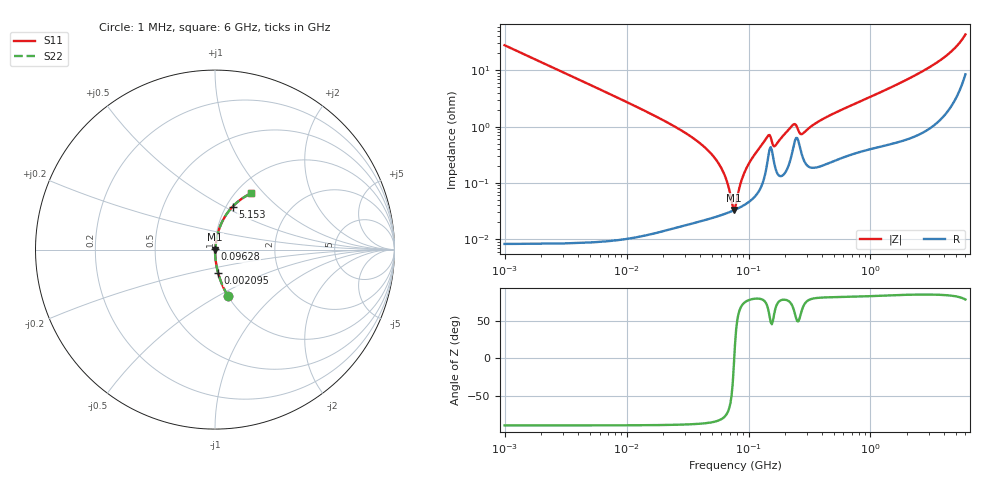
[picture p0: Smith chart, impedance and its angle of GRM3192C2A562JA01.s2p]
!Murata Part Number: GRM3192C2A562JA01
!These Parameters are Measured in Series Mode Connection
!Data Generated on Mar 30, 2021
!  o--ll--o
!Port1  Port2
!  o------o
!Operation Temp=25[degC], DC Bias Voltage=0[V]
!Freq. Start=1000[kHz] Stop=6[GHz] 401[Steps]
# Hz S RI R 50
!Freq.(Hz) S11(Real) S11(Imag) S21(Real) S21(Imag) S12(Real) S12(Imag) S22(Real) S22(Imag)
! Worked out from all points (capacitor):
!   401 points, 1 MHz to 6 GHz, reference 50 ohm
!   read as one part in series: C = 5.7 nF near 1.044 MHz
!   lowest |Z| = 33 mohm at 75.79 MHz (marker M1)
!   series resonance near 76.34 MHz, so ESL is about 760 pH
!   S11 on the Smith chart (normalised r, x): 1 MHz: 1.00, -0.56; 2.095 MHz: 1.00, -0.27; 96.28 MHz: 1.00, +0.00; 5.153 GHz: 1.07, +0.55; 6 GHz: 1.17, +0.85
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1000000  0.0724 -0.2591  0.9276 0.2591  0.9276 0.2591  0.0724 -0.2591
2094801  0.0175 -0.1309  0.9825 0.1309  0.9825 0.1309  0.0175 -0.1309
4293785  0.00427 -0.0646  0.9957 0.0646  0.9957 0.0646  0.00427 -0.0646
1.843659e7  0.000335 -0.0142  0.9997 0.0142  0.9997 0.0142  0.000335 -0.0142
3.389622e7  0.000231 -0.0066  0.9998 0.0066  0.9998 0.0066  0.000231 -0.0066
5.013812e7  0.000247 -0.00317  0.9998 0.00317  0.9998 0.00317  0.000247 -0.00317
6.23192e7  0.000278 -0.00151  0.9997 0.00151  0.9997 0.00151  0.000278 -0.00151
7.57932e7  0.000326 -5.32e-05  0.9997 5.32e-05  0.9997 5.32e-05  0.000326 -5.32e-05
7.745967e7  0.000333 0.000109  0.9997 -0.000109  0.9997 -0.000109  0.000333 0.000109
8.825674e7  0.000384 0.0011  0.9996 -0.0011  0.9996 -0.0011  0.000384 0.0011
9.627852e7  0.000432 0.00179  0.9996 -0.00179  0.9996 -0.00179  0.000432 0.00179
1.424119e8  0.00229 0.0062  0.9977 -0.0062  0.9977 -0.0062  0.00229 0.0062
1.487431e8  0.00395 0.00587  0.996 -0.00587  0.996 -0.00587  0.00395 0.00587
1.658303e8  0.00186 0.00418  0.9981 -0.00418  0.9981 -0.00418  0.00186 0.00418
2.297971e8  0.00381 0.00985  0.9962 -0.00985  0.9962 -0.00985  0.00381 0.00985
2.400133e8  0.00564 0.0095  0.9944 -0.0095  0.9944 -0.0095  0.00564 0.0095
2.734687e8  0.00324 0.00658  0.9968 -0.00658  0.9968 -0.00658  0.00324 0.00658
3.325952e8  0.00196 0.0102  0.998 -0.0102  0.998 -0.0102  0.00196 0.0102
1.428092e9  0.00707 0.0475  0.9929 -0.0475  0.9929 -0.0475  0.00707 0.0475
3.193267e9  0.0237 0.1166  0.9763 -0.1166  0.9763 -0.1166  0.0237 0.1166
5.152685e9  0.0981 0.2394  0.9019 -0.2394  0.9019 -0.2394  0.0981 0.2394
6e9  0.2012 0.3134  0.7988 -0.3134  0.7988 -0.3134  0.2012 0.3134
